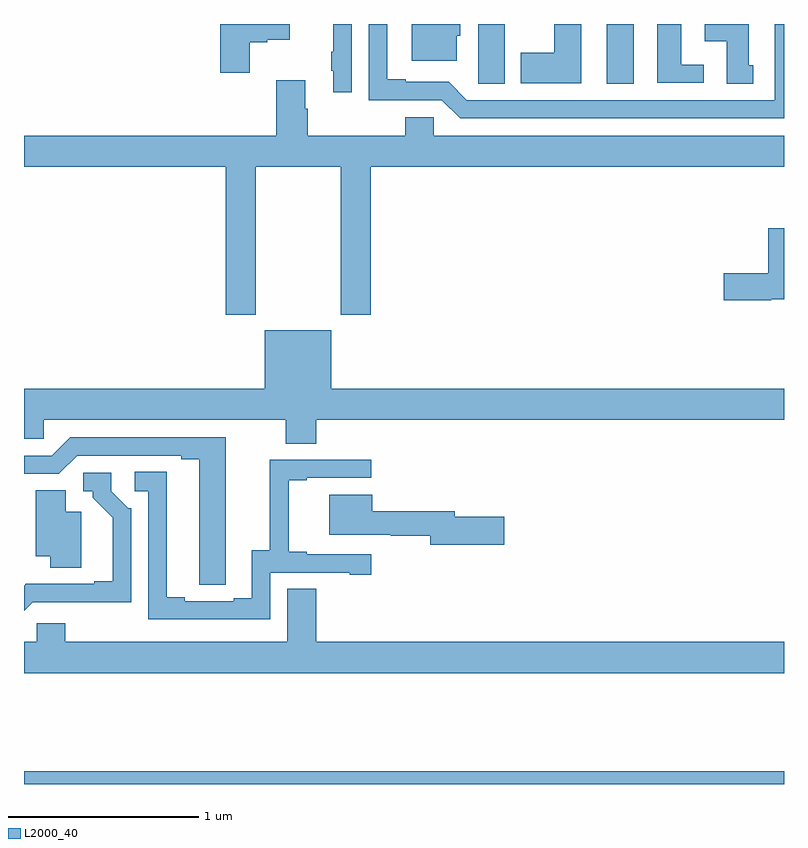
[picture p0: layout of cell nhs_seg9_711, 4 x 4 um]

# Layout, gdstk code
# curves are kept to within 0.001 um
import gdstk
lib = gdstk.Library(unit=1e-6, precision=1e-09)
def R(c, l, rs):  # rectangles x0, y0, x1, y1
    for r in rs: c.add(gdstk.rectangle(r[:2], r[2:], *l))
def P(c, l, *ps):  # polygons
    for p in ps: c.add(gdstk.Polygon(p, *l))
L2000_40 = (2000, 40)

nhs_seg9_711 = lib.new_cell('nhs_seg9_711')
R(nhs_seg9_711, L2000_40, [(147,1198.5,151,1198.568), (150.068,1202.185,150.208,1202.5)])
P(nhs_seg9_711, L2000_40, [(150.838,1202.283),(150.814,1202.283),(150.814,1202.5),(150.584,1202.5),(150.584,1202.408),(150.698,1202.408),(150.698,1202.185),(150.838,1202.185)],
  [(148.188,1202.405),(148.281,1202.405),(148.281,1202.417),(148.399,1202.417),(148.399,1202.5),(148.034,1202.5),(148.034,1202.244),(148.188,1202.244)],
  [(151,1202.5),(150.95,1202.5),(150.95,1202.1),(149.331,1202.1),(149.235,1202.196),(149.008,1202.196),(149.008,1202.209),(148.912,1202.209),(148.912,1202.5),(148.815,1202.5),(148.815,1202.1),(149.199,1202.1),(149.295,1202.004),(151,1202.004)],
  [(149.53,1202.5),(149.39,1202.5),(149.39,1202.296),(149.391,1202.296),(149.391,1202.185),(149.53,1202.185)],
  [(149.932,1202.5),(149.792,1202.5),(149.792,1202.349),(149.615,1202.349),(149.615,1202.189),(149.932,1202.189)],
  [(149.278,1202.439),(149.296,1202.439),(149.296,1202.5),(149.042,1202.5),(149.042,1202.306),(149.278,1202.306)],
  [(150.577,1202.286),(150.46,1202.286),(150.46,1202.5),(150.332,1202.5),(150.332,1202.19),(150.577,1202.19)],
  [(148.725,1202.5),(148.627,1202.5),(148.627,1202.354),(148.617,1202.354),(148.617,1202.254),(148.628,1202.254),(148.628,1202.142),(148.725,1202.142)],
  [(148.221,1201.748),(148.666,1201.748),(148.666,1200.969),(148.826,1200.969),(148.826,1201.748),(151,1201.748),(151,1201.912),(149.157,1201.912),(149.157,1202.01),(149.006,1202.01),(149.006,1201.912),(148.493,1201.912),(148.493,1202.054),(148.48,1202.054),(148.48,1202.203),(148.328,1202.203),(148.328,1201.912),(147,1201.912),(147,1201.748),(148.061,1201.748),(148.061,1200.969),(148.221,1200.969)],
  [(150.933,1201.052),(151,1201.052),(151,1201.426),(150.917,1201.426),(150.917,1201.187),(150.684,1201.187),(150.684,1201.045),(150.933,1201.045)],
  [(148.538,1200.416),(151,1200.416),(151,1200.58),(148.618,1200.58),(148.618,1200.889),(148.268,1200.889),(148.268,1200.58),(147,1200.58),(147,1200.318),(147.105,1200.318),(147.105,1200.416),(148.378,1200.416),(148.378,1200.292),(148.538,1200.292)],
  [(148.062,1199.656),(148.063,1200.324),(147.243,1200.324),(147.147,1200.228),(147,1200.228),(147,1200.132),(147.183,1200.132),(147.279,1200.228),(147.827,1200.228),(147.827,1200.208),(147.923,1200.208),(147.923,1199.548),(148.062,1199.548)],
  [(148.296,1199.613),(148.715,1199.613),(148.715,1199.601),(148.828,1199.601),(148.828,1199.709),(148.489,1199.709),(148.489,1199.722),(148.394,1199.722),(148.394,1200.099),(148.489,1200.099),(148.489,1200.111),(148.828,1200.111),(148.828,1200.207),(148.294,1200.207),(148.294,1199.729),(148.199,1199.729),(148.199,1199.478),(148.103,1199.478),(148.103,1199.463),(147.847,1199.463),(147.847,1199.483),(147.751,1199.483),(147.751,1200.143),(147.582,1200.143),(147.582,1200.042),(147.654,1200.042),(147.654,1199.367),(148.296,1199.367)],
  [(147.045,1199.457),(147.564,1199.456),(147.564,1199.952),(147.549,1199.952),(147.459,1200.042),(147.459,1200.138),(147.312,1200.138),(147.312,1200.042),(147.362,1200.042),(147.362,1200.007),(147.467,1199.902),(147.467,1199.566),(147.371,1199.566),(147.371,1199.553),(147.01,1199.554),(147,1199.544),(147,1199.412)],
  [(147.301,1199.932),(147.22,1199.932),(147.22,1200.047),(147.062,1200.047),(147.062,1199.699),(147.137,1199.699),(147.137,1199.638),(147.301,1199.638)],
  [(149.527,1199.906),(149.266,1199.906),(149.266,1199.935),(148.834,1199.935),(148.834,1200.022),(148.607,1200.022),(148.607,1199.813),(148.93,1199.813),(148.93,1199.806),(149.138,1199.806),(149.138,1199.759),(149.527,1199.759)],
  [(151,1199.248),(148.538,1199.248),(148.538,1199.528),(148.385,1199.528),(148.385,1199.248),(147.218,1199.248),(147.218,1199.346),(147.066,1199.346),(147.066,1199.248),(147,1199.248),(147,1199.084),(151,1199.084)])

lib.write_gds('nhs_seg9_711.gds')
